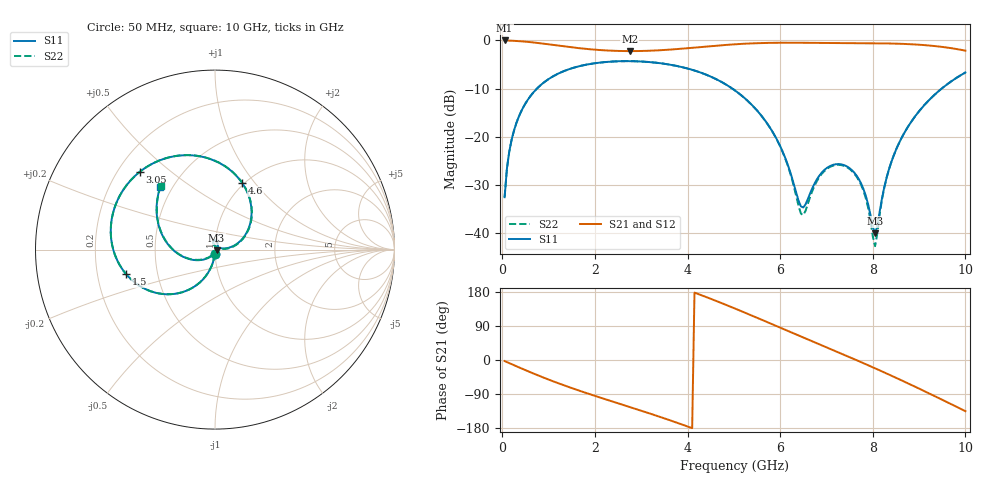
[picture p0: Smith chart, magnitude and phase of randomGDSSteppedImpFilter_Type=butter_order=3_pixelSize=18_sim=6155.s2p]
! freq	dB(S11)	phase(S11)	dB(S12)	phase(S12)
!  dB(S21)	phase(S21)	dB(S22)	phase(S22)
!S-par simulation data
#  GHz  S  DB  R 50
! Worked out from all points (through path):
!   200 points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, 50 MHz to 10 GHz, reference 50 ohm
!   highest |S21| = -0.01 dB at 50 MHz (marker M1); lowest = -2.2 dB at 2.75 GHz (marker M2)
!   group delay of S21, straight-line fit = 134 ps
!   lowest |S11| = -40.0 dB at 8.05 GHz (marker M3), VSWR 1.02, Z = 50.9 - j0.483 ohm
!   |S11| at or under -10 dB: start of sweep to 747.3 MHz; 4.969 GHz to 9.487 GHz (4.518 GHz wide, 62.5 % of centre)
!   |S22| runs from -42.7 to -4.3 dB; largest |S21 - S12| = 0
!   S11 on the Smith chart (normalised r, x): 50 MHz: 1.00, -0.05; 1.5 GHz: 0.33, -0.12; 3.05 GHz: 0.29, +0.40; 4.6 GHz: 0.98, +0.86; 10 GHz: 0.43, +0.39
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0.05  -32.50 -93.2  -0.01 -2.8  -0.01 -2.8  -32.50 -93.2
0.1  -26.55 -96.2  -0.02 -5.5  -0.02 -5.5  -26.55 -96.2
0.2  -20.66 -101.7  -0.06 -10.9  -0.06 -10.9  -20.66 -101.7
0.45  -13.91 -114.8  -0.22 -24.2  -0.22 -24.2  -13.91 -114.8
0.95  -8.34 -139.8  -0.75 -49.3  -0.75 -49.3  -8.34 -139.8
1.5  -5.78 -164.6  -1.43 -74.1  -1.43 -74.1  -5.78 -164.7
1.75  -5.15 -175.1  -1.70 -84.6  -1.70 -84.6  -5.15 -175.2
2.75  -4.30 145.5  -2.22 -124.0  -2.22 -124.0  -4.30 145.4
3.05  -4.40 133.8  -2.18 -135.8  -2.18 -135.8  -4.40 133.7
3.4  -4.71 119.9  -2.04 -149.9  -2.04 -149.9  -4.71 119.8
4.6  -7.95 67.8  -1.11 156.8  -1.11 156.8  -7.95 67.5
5.05  -10.55 46.7  -0.79 134.5  -0.79 134.5  -10.56 46.2
5.9  -20.02 10.5  -0.49 90.7  -0.49 90.7  -20.06 8.8
6.45  -34.43 48.3  -0.49 62.1  -0.49 62.1  -35.92 45.6
6.7  -30.52 101.2  -0.51 49.2  -0.51 49.2  -31.07 106.2
7.1  -25.94 98.3  -0.54 28.4  -0.54 28.4  -26.12 101.6
7.55  -26.90 75.6  -0.56 4.9  -0.56 4.9  -27.08 79.1
7.85  -32.24 48.8  -0.58 -11.1  -0.58 -11.1  -32.74 54.7
8.05  -39.98 -28.3  -0.59 -21.9  -0.59 -21.9  -42.66 -31.2
8.35  -26.71 -121.6  -0.63 -38.4  -0.63 -38.4  -26.74 -124.8
9.15  -13.03 -177.2  -1.00 -84.3  -1.00 -84.3  -13.02 -177.8
10  -6.66 130.8  -2.12 -134.9  -2.12 -134.9  -6.65 130.7
